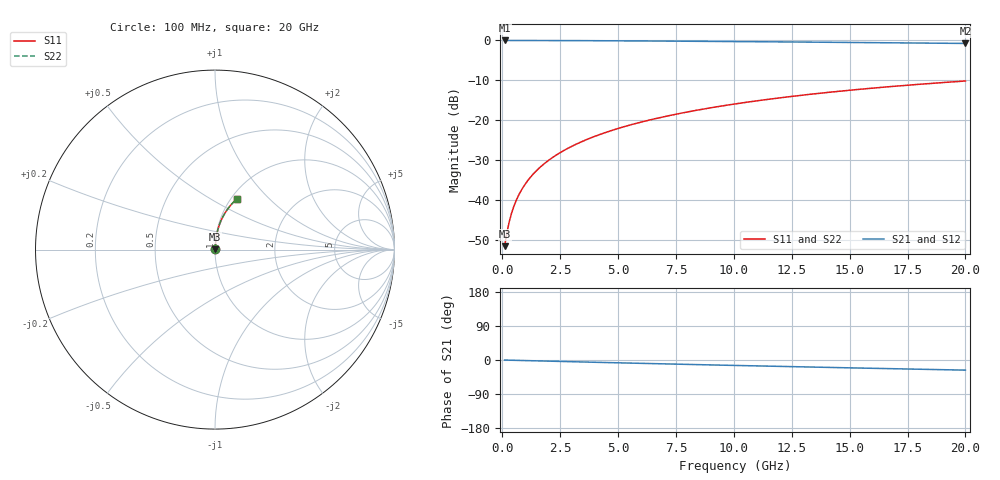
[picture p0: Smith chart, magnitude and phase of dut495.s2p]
! Touchstone file exported from HFSS 2024.1.0
!  File:  C:/UserFiles/LocalFiles/RDL_TSV_Batchsim/temp_RDL_top_495_1779678852.aedt
!  Generated:  11:16:33 AM May 25, 2026
!  Design:  RDL_top
!  Project:  temp_RDL_top_495_1779678852
!  Setup:  Setup1
!  Solution:  Sweep
! Variables:
!  dtsv = 10.80580581um
!  hbump = 3um
!  htsv = 54.51um
!  ldown = 100um
!  lrdl = 336.08um
!  p = 40
!  p1 = 47.64um
!  rhole = 1um
!  t = 450um
!  tdown = 3.915915916um
!  trdl = 4.05um
!  wdown = 15.38538539um
!  wrdl = 15.21um
# GHz S MA R 50.000000
! Terminal data exported
! Port[1] = Box2_T1
! Port[2] = Box2_T2
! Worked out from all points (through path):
!   200 points, 100 MHz to 20 GHz, reference 50 ohm
!   highest |S21| = -0.02 dB at 100 MHz (marker M1); lowest = -0.8 dB at 20 GHz (marker M2)
!   group delay of S21, straight-line fit = 3.7 ps
!   lowest |S11| = -51.6 dB at 100 MHz (marker M3), VSWR 1.01, Z = 50.2 + j0.165 ohm
!   |S11| at or under -10 dB: start of sweep to end of sweep
!   |S22| runs from -51.6 to -10.2 dB; largest |S21 - S12| = 2.6e-15
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0.1  0.002639 38.5  0.9979 -0.2  0.9979 -0.2  0.002639 38.5
! Gamma 0 0 0 0
! Port Impedance 50 0 50 0
0.2  0.003892 57.1  0.9979 -0.3  0.9979 -0.3  0.003892 57.1
0.3  0.005336 65.8  0.9978 -0.5  0.9978 -0.5  0.005336 65.8
0.4  0.006832 70.7  0.9977 -0.6  0.9977 -0.6  0.006832 70.7
0.5  0.008343 73.8  0.9976 -0.8  0.9976 -0.8  0.008343 73.8
0.6  0.009861 75.9  0.9975 -0.9  0.9975 -0.9  0.009861 75.9
0.8  0.01291 78.7  0.9974 -1.2  0.9974 -1.2  0.01291 78.7
1.1  0.0175 81.1  0.9971 -1.7  0.9971 -1.7  0.0175 81.1
1.5  0.02367 82.7  0.9966 -2.3  0.9966 -2.3  0.02367 82.7
1.8  0.02832 83.4  0.9962 -2.7  0.9962 -2.7  0.02832 83.4
2.1  0.03299 83.9  0.9957 -3.2  0.9957 -3.2  0.03299 83.9
2.7  0.04236 84.3  0.9945 -4.1  0.9945 -4.1  0.04236 84.3
3.5  0.05494 84.3  0.9925 -5.3  0.9925 -5.3  0.05494 84.3
4.2  0.06601 84.0  0.9904 -6.3  0.9904 -6.3  0.06601 84.0
5  0.07873 83.6  0.9878 -7.5  0.9878 -7.5  0.07873 83.6
5.9  0.09312 82.9  0.9846 -8.7  0.9846 -8.7  0.09311 82.9
6.8  0.1076 82.1  0.9811 -10.0  0.9811 -10.0  0.1076 82.1
8.3  0.1317 80.6  0.9748 -12.0  0.9748 -12.0  0.1317 80.6
10.1  0.1606 78.6  0.9667 -14.4  0.9667 -14.4  0.1606 78.6
13.4  0.2127 74.6  0.9508 -18.7  0.9508 -18.7  0.2127 74.6
16.7  0.2627 70.5  0.9338 -22.8  0.9338 -22.8  0.2627 70.5
20  0.3098 66.4  0.9157 -26.8  0.9157 -26.8  0.3098 66.4
